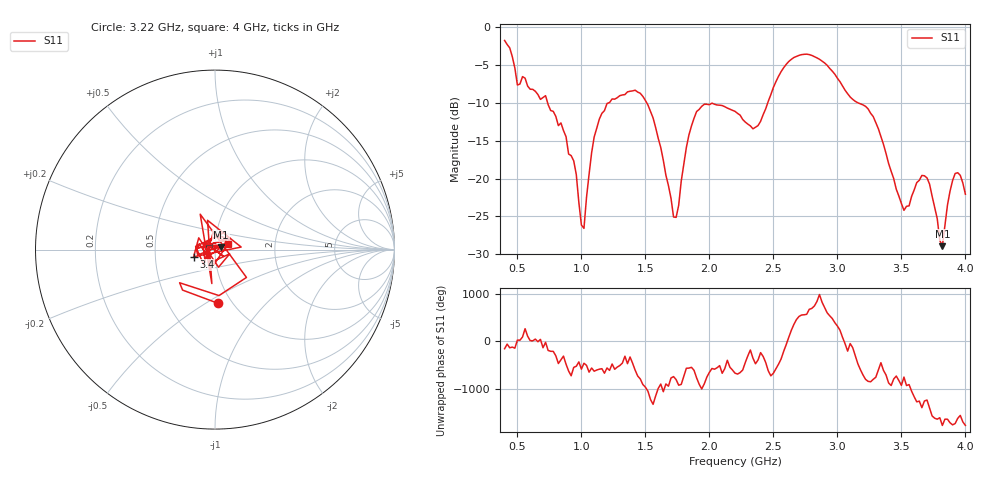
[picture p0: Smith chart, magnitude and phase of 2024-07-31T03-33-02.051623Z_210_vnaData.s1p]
!Created with skrf (http://scikit-rf.org).
# Hz S RI R 50.0
!freq ReS11 ImS11
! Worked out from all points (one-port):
!   181 points, 400 MHz to 4 GHz, reference 50 ohm
!   lowest |S11| = -28.9 dB at 3.82 GHz (marker M1), VSWR 1.07, Z = 53.4 + j1.39 ohm
!   |S11| at or under -10 dB: 736.5 MHz to 1.21 GHz (473.4 MHz wide, 48.6 % of centre); 1.511 GHz to 2.455 GHz (944.3 MHz wide, 47.6 % of centre); 3.164 GHz to end of sweep
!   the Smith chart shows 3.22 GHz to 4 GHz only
!   S11 on the Smith chart (normalised r, x): 3.22 GHz: 0.86, -0.57; 3.4 GHz: 0.78, -0.06; 4 GHz: 1.15, +0.07
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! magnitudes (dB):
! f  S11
! 400 MHz  -1.7
! 500 MHz  -7.6
! 720 MHz  -9.0
! 860 MHz  -13.6
! 940 MHz  -17.7
! 1 GHz  -26.1
! 1.02 GHz  -26.6
! 1.1 GHz  -14.5
! 1.3 GHz  -9.0
! 1.52 GHz  -10.3
! 1.62 GHz  -15.9
! 1.72 GHz  -25.1
! 1.76 GHz  -23.5
! 1.82 GHz  -15.9
! 1.9 GHz  -11.1
! 2.2 GHz  -11.1
! 2.38 GHz  -13.0
! 2.66 GHz  -4.0
! 2.86 GHz  -4.2
! 3.1 GHz  -9.2
! 3.22 GHz  -10.4
! 3.4 GHz  -18.0
! 3.52 GHz  -24.2
! 3.56 GHz  -23.6
! 3.7 GHz  -19.9
! 3.82 GHz  -28.9
! 3.92 GHz  -19.3
! 4 GHz  -22.1
